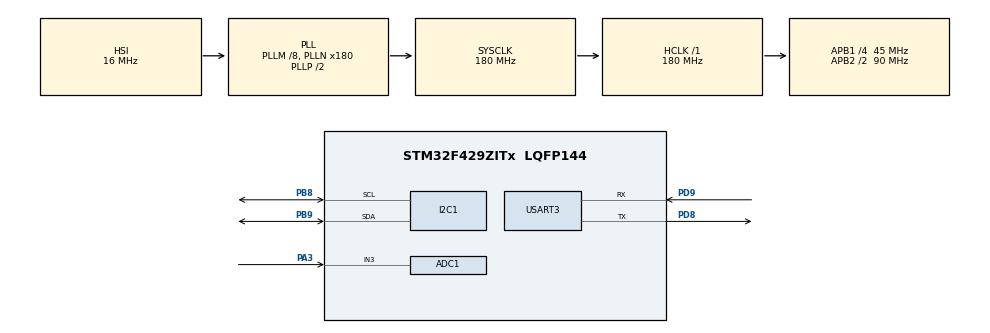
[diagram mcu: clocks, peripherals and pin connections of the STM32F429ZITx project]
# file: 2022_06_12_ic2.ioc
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ADC1.Channel-0\#ChannelRegularConversion=ADC_CHANNEL_3
ADC1.NbrOfConversionFlag=1
ADC1.Rank-0\#ChannelRegularConversion=1
ADC1.SamplingTime-0\#ChannelRegularConversion=ADC_SAMPLETIME_3CYCLES
ADC1.master=1
Mcu.Family=STM32F4
Mcu.Name=STM32F429ZITx
Mcu.Package=LQFP144
NVIC.PriorityGroup=NVIC_PRIORITYGROUP_4
NVIC.USART3_IRQn=true\:0\:0\:false\:true\:true\:1\:true\:true\:true
PA3.Signal=ADCx_IN3
PB8.GPIO_Pu=GPIO_PULLUP
PB8.Mode=I2C
PB8.Signal=I2C1_SCL
PB9.GPIO_Pu=GPIO_PULLUP
PB9.Mode=I2C
PB9.Signal=I2C1_SDA
PC14/OSC32_IN.Mode=LSE-External-Oscillator
PC14/OSC32_IN.Signal=RCC_OSC32_IN
PC15/OSC32_OUT.Mode=LSE-External-Oscillator
PC15/OSC32_OUT.Signal=RCC_OSC32_OUT
PD8.Mode=Asynchronous
PD8.Signal=USART3_TX
PD9.Mode=Asynchronous
PD9.Signal=USART3_RX
ProjectManager.HeapSize=0x200
ProjectManager.StackSize=0x400
ProjectManager.TargetToolchain=STM32CubeIDE
RCC.48MHZClocksFreq_Value=90000000
RCC.AHBFreq_Value=180000000
RCC.APB1CLKDivider=RCC_HCLK_DIV4
RCC.APB1Freq_Value=45000000
RCC.APB1TimFreq_Value=90000000
RCC.APB2CLKDivider=RCC_HCLK_DIV2
RCC.APB2Freq_Value=90000000
RCC.APB2TimFreq_Value=180000000
RCC.CortexFreq_Value=180000000
RCC.HCLKFreq_Value=180000000
RCC.HSE_VALUE=25000000
RCC.HSI_VALUE=16000000
RCC.PLLM=8
RCC.PLLN=180
RCC.RCC_RTC_Clock_Source=RCC_RTCCLKSOURCE_LSE
RCC.RCC_RTC_Clock_SourceVirtual=RCC_RTCCLKSOURCE_LSE
RCC.SYSCLKFreq_VALUE=180000000
RCC.SYSCLKSource=RCC_SYSCLKSOURCE_PLLCLK
RCC.VCOOutputFreq_Value=360000000
SH.ADCx_IN3.0=ADC1_IN3,IN3
USART3.VirtualMode=VM_ASYNC
VP_RTC_VS_RTC_Activate.Mode=RTC_Enabled
VP_TIM3_VS_ClockSourceINT.Mode=Internal
board=custom

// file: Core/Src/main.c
/* USER CODE BEGIN Header */
/**
  ******************************************************************************
  * @file           : main.c
  * @brief          : Main program body
  ******************************************************************************
  * @attention
  *
  * Copyright (c) 2022 STMicroelectronics.
  * All rights reserved.
  *
  * This software is licensed under terms that can be found in the LICENSE file
  * in the root directory of this software component.
  * If no LICENSE file comes with this software, it is provided AS-IS.
  *
  ******************************************************************************
  */
/* USER CODE END Header */
#include "main.h"
#include "adc.h"
#include "i2c.h"
#include "rtc.h"
#include "tim.h"
#include "usart.h"
#include "gpio.h"

/* USER CODE BEGIN Includes */
#include "string.h"
#include "stdio.h"
/* USER CODE END Includes */

void SystemClock_Config(void);
static void MX_NVIC_Init(void);

/* USER CODE BEGIN 0 */
void I2C_Scan();
/* USER CODE END 0 */

int main(void)
{

  /* MCU Configuration--------------------------------------------------------*/

  /* Reset of all peripherals, Initializes the Flash interface and the Systick. */
  HAL_Init();

  /* Configure the system clock */
  SystemClock_Config();

  /* Initialize all configured peripherals */
  MX_GPIO_Init();
  MX_I2C1_Init();
  MX_RTC_Init();
  MX_USART3_UART_Init();
  MX_ADC1_Init();
  MX_TIM3_Init();

  /* Initialize interrupts */
  MX_NVIC_Init();
  /* USER CODE BEGIN 2 */
  HAL_StatusTypeDef res;

  /* USER CODE END 2 */

  /* Infinite loop */
  while (1)
  {

    /* USER CODE BEGIN 3 */
	   I2C_Scan();
	   HAL_Delay(5000);
  }
  /* USER CODE END 3 */
}

void SystemClock_Config(void)
{
  RCC_OscInitTypeDef RCC_OscInitStruct = {0};
  RCC_ClkInitTypeDef RCC_ClkInitStruct = {0};

  /** Configure the main internal regulator output voltage
  */
  __HAL_RCC_PWR_CLK_ENABLE();
  __HAL_PWR_VOLTAGESCALING_CONFIG(PWR_REGULATOR_VOLTAGE_SCALE1);

  /** Initializes the RCC Oscillators according to the specified parameters
  * in the RCC_OscInitTypeDef structure.
  */
  RCC_OscInitStruct.OscillatorType = RCC_OSCILLATORTYPE_HSI|RCC_OSCILLATORTYPE_LSE;
  RCC_OscInitStruct.LSEState = RCC_LSE_ON;
  RCC_OscInitStruct.HSIState = RCC_HSI_ON;
  RCC_OscInitStruct.HSICalibrationValue = RCC_HSICALIBRATION_DEFAULT;
  RCC_OscInitStruct.PLL.PLLState = RCC_PLL_ON;
  RCC_OscInitStruct.PLL.PLLSource = RCC_PLLSOURCE_HSI;
  RCC_OscInitStruct.PLL.PLLM = 8;
  RCC_OscInitStruct.PLL.PLLN = 180;
  RCC_OscInitStruct.PLL.PLLP = RCC_PLLP_DIV2;
  RCC_OscInitStruct.PLL.PLLQ = 4;
  if (HAL_RCC_OscConfig(&RCC_OscInitStruct) != HAL_OK)
  {
    Error_Handler();
  }

  /** Activate the Over-Drive mode
  */
  if (HAL_PWREx_EnableOverDrive() != HAL_OK)
  {
    Error_Handler();
  }

  /** Initializes the CPU, AHB and APB buses clocks
  */
  RCC_ClkInitStruct.ClockType = RCC_CLOCKTYPE_HCLK|RCC_CLOCKTYPE_SYSCLK
                              |RCC_CLOCKTYPE_PCLK1|RCC_CLOCKTYPE_PCLK2;
  RCC_ClkInitStruct.SYSCLKSource = RCC_SYSCLKSOURCE_PLLCLK;
  RCC_ClkInitStruct.AHBCLKDivider = RCC_SYSCLK_DIV1;
  RCC_ClkInitStruct.APB1CLKDivider = RCC_HCLK_DIV4;
  RCC_ClkInitStruct.APB2CLKDivider = RCC_HCLK_DIV2;

  if (HAL_RCC_ClockConfig(&RCC_ClkInitStruct, FLASH_LATENCY_5) != HAL_OK)
  {
    Error_Handler();
  }
}

/**
  * @brief NVIC Configuration.
  * @retval None
  */
static void MX_NVIC_Init(void)
{
  /* USART3_IRQn interrupt configuration */
  HAL_NVIC_SetPriority(USART3_IRQn, 0, 0);
  HAL_NVIC_EnableIRQ(USART3_IRQn);
}

/* USER CODE BEGIN 4 */
void I2C_Scan(){
	  char info[] = "Scanning I2C bus...\r\n";
	  HAL_UART_Transmit(&huart3, (uint8_t*)info, strlen(info), HAL_MAX_DELAY);

	  HAL_StatusTypeDef res;
for(uint16_t i = 0; i < 128; i++) {
    res = HAL_I2C_IsDeviceReady(&hi2c1, i << 1, 1, 10);
    if(res == HAL_OK) {
        char msg[64];
        snprintf(msg, sizeof(msg), "0x%02X", i);
        HAL_UART_Transmit(&huart3, (uint8_t*)msg, strlen(msg), HAL_MAX_DELAY);
    } else {
        HAL_UART_Transmit(&huart3, (uint8_t*)".", 1, HAL_MAX_DELAY);
    }
}
HAL_UART_Transmit(&huart3, (uint8_t*)"\r\n", 2, HAL_MAX_DELAY);
}
/* USER CODE END 4 */

void Error_Handler(void)
{
  __disable_irq();
  while (1)
  {
  }
}
